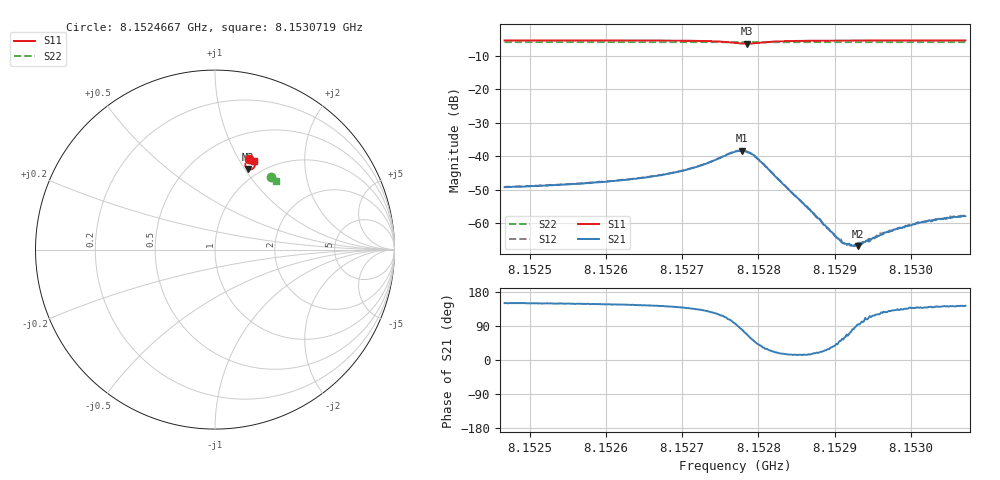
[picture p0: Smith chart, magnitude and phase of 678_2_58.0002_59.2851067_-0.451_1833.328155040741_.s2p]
#  HZ  S  RI  R  50.00
! Rohde & Schwarz Vector Network Analyzer
! Rohde-Schwarz,ZNB20-2Port,1311601062101988,3.16
! Created: UTC 3/21/2024, 1:20:45 AM
! freq[Hz]  re:S11  im:S11  re:S21  im:S21  re:S12  im:S12  re:S22  im:S22
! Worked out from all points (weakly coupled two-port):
!   401 points, 8.1524667 GHz to 8.1530719 GHz, reference 50 ohm
!   highest |S21| = -38.32 dB at 8.1527784 GHz (marker M1); lowest = -66.9 dB at 8.1529312 GHz (marker M2)
!   lowest |S11| = -6.3 dB at 8.1527844 GHz (marker M3), VSWR 2.88, Z = 44.1 + j51.7 ohm
!   |S11| at or under -10 dB: nowhere
!   |S22| runs from -5.9 to -5.8 dB; largest |S21 - S12| = 0.00032
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8.1524667e9  0.189 0.5066  -0.00299 0.00172  -0.00302 0.00178  0.3098 0.4066
8.15256807e9  0.1977 0.5029  -0.00334 0.00205  -0.00332 0.00215  0.315 0.4025
8.15263464e9  0.2047 0.4995  -0.00378 0.00256  -0.00373 0.00267  0.3183 0.3996
8.15266943e9  0.2093 0.4964  -0.00413 0.00315  -0.00412 0.00322  0.32 0.3983
8.15271633e9  0.2171 0.4879  -0.00478 0.00483  -0.00475 0.00493  0.3224 0.3958
8.15276929e9  0.2102 0.4508  -0.0013 0.0117  -0.0011 0.0118  0.324 0.3926
8.15277836e9  0.1952 0.4461  0.0021 0.0119  0.00222 0.0121  0.3237 0.3922
8.15278442e9  0.1839 0.4485  0.00421 0.0109  0.00453 0.011  0.3235 0.3923
8.15279198e9  0.1731 0.4578  0.00627 0.00869  0.00632 0.00868  0.3237 0.3924
8.15280408e9  0.1687 0.4752  0.00654 0.0048  0.00669 0.00475  0.3244 0.3928
8.15287065e9  0.1934 0.4994  0.00141 0.000414  0.00137 0.000372  0.3288 0.3905
8.15290242e9  0.1999 0.4996  0.00046 0.000422  0.000472 0.000388  0.3305 0.3892
8.15290999e9  0.2011 0.4994  0.000288 0.000421  0.000328 0.000401  0.3309 0.3889
8.15291907e9  0.2024 0.4993  0.000175 0.000451  0.00021 0.000445  0.3313 0.3884
8.1529236e9  0.2031 0.4992  6.96e-05 0.000457  0.000104 0.000483  0.3316 0.3883
8.15293117e9  0.2041 0.4992  -3.39e-05 0.000452  -6.58e-06 0.000509  0.3318 0.3881
8.15294932e9  0.2065 0.4986  -0.000259 0.000526  -0.00025 0.000516  0.333 0.3872
8.15295689e9  0.2073 0.4983  -0.00033 0.000548  -0.000334 0.000553  0.3333 0.3869
8.15297202e9  0.2091 0.4979  -0.000471 0.000569  -0.000478 0.000612  0.3338 0.3861
8.15301135e9  0.2128 0.4968  -0.000744 0.000675  -0.000793 0.000658  0.3357 0.3846
8.15305523e9  0.2169 0.4955  -0.000966 0.00074  -0.00096 0.000791  0.3377 0.3828
8.15307187e9  0.2182 0.4951  -0.00102 0.000759  -0.001 0.000812  0.3387 0.3818
